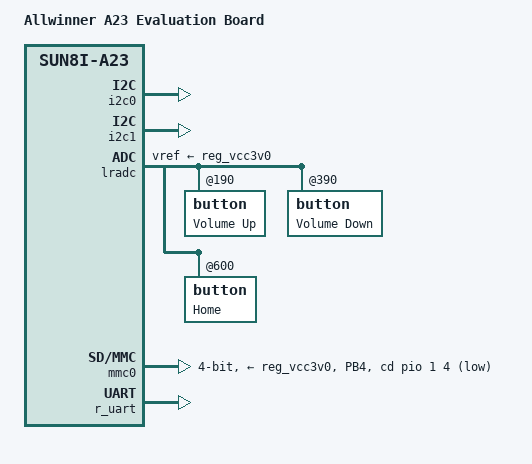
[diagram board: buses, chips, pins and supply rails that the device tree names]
/*
 * Copyright 2015 Maxime Ripard
 *
 * Maxime Ripard <maxime.ripard@free-electrons.com>
 *
 * This file is dual-licensed: you can use it either under the terms
 * of the GPL or the X11 license, at your option. Note that this dual
 * licensing only applies to this file, and not this project as a
 * whole.
 *
 *  a) This file is free software; you can redistribute it and/or
 *     modify it under the terms of the GNU General Public License as
 *     published by the Free Software Foundation; either version 2 of the
 *     License, or (at your option) any later version.
 *
 *     This file is distributed in the hope that it will be useful,
 *     but WITHOUT ANY WARRANTY; without even the implied warranty of
 *     MERCHANTABILITY or FITNESS FOR A PARTICULAR PURPOSE.  See the
 *     GNU General Public License for more details.
 *
 * Or, alternatively,
 *
 *  b) Permission is hereby granted, free of charge, to any person
 *     obtaining a copy of this software and associated documentation
 *     files (the "Software"), to deal in the Software without
 *     restriction, including without limitation the rights to use,
 *     copy, modify, merge, publish, distribute, sublicense, and/or
 *     sell copies of the Software, and to permit persons to whom the
 *     Software is furnished to do so, subject to the following
 *     conditions:
 *
 *     The above copyright notice and this permission notice shall be
 *     included in all copies or substantial portions of the Software.
 *
 *     THE SOFTWARE IS PROVIDED "AS IS", WITHOUT WARRANTY OF ANY KIND,
 *     EXPRESS OR IMPLIED, INCLUDING BUT NOT LIMITED TO THE WARRANTIES
 *     OF MERCHANTABILITY, FITNESS FOR A PARTICULAR PURPOSE AND
 *     NONINFRINGEMENT. IN NO EVENT SHALL THE AUTHORS OR COPYRIGHT
 *     HOLDERS BE LIABLE FOR ANY CLAIM, DAMAGES OR OTHER LIABILITY,
 *     WHETHER IN AN ACTION OF CONTRACT, TORT OR OTHERWISE, ARISING
 *     FROM, OUT OF OR IN CONNECTION WITH THE SOFTWARE OR THE USE OR
 *     OTHER DEALINGS IN THE SOFTWARE.
 */

/dts-v1/;
#include "sun8i-a23.dtsi"
#include "sunxi-common-regulators.dtsi"

#include <dt-bindings/gpio/gpio.h>
#include <dt-bindings/input/input.h>

/ {
	model = "Allwinner A23 Evaluation Board";
	compatible = "allwinner,sun8i-a23-evb", "allwinner,sun8i-a23";

	aliases {
		i2c0 = &i2c0;
		i2c1 = &i2c1;
		serial0 = &r_uart;
	};

	chosen {
		stdout-path = "serial0:115200n8";
	};
};

&i2c0 {
	pinctrl-names = "default";
	pinctrl-0 = <&i2c0_pins_a>;
	status = "okay";
};

&i2c1 {
	pinctrl-names = "default";
	pinctrl-0 = <&i2c1_pins_a>;
	status = "okay";
};

&lradc {
	vref-supply = <&reg_vcc3v0>;
	status = "okay";

	button@190 {
		label = "Volume Up";
		linux,code = <KEY_VOLUMEUP>;
		channel = <0>;
		voltage = <190000>;
	};

	button@390 {
		label = "Volume Down";
		linux,code = <KEY_VOLUMEDOWN>;
		channel = <0>;
		voltage = <390000>;
	};

	button@600 {
		label = "Home";
		linux,code = <KEY_HOME>;
		channel = <0>;
		voltage = <600000>;
	};
};

&mmc0 {
	pinctrl-names = "default";
	pinctrl-0 = <&mmc0_pins_a>, <&mmc0_cd_pin_evb>;
	vmmc-supply = <&reg_vcc3v0>;
	bus-width = <4>;
	cd-gpios = <&pio 1 4 GPIO_ACTIVE_LOW>; /* PB4 */
	status = "okay";
};

&pio {
	mmc0_cd_pin_evb: mmc0_cd_pin@0 {
		pins = "PB4";
		function = "gpio_in";
		bias-pull-up;
	};
};

/*
 * The RX line has a non-populated resistance. In order to use it, you
 * need to solder R207 on the back of the board in order to close the
 * line and get a working UART.
 */
&r_uart {
	pinctrl-names = "default";
	pinctrl-0 = <&r_uart_pins_a>;
	status = "okay";
};
